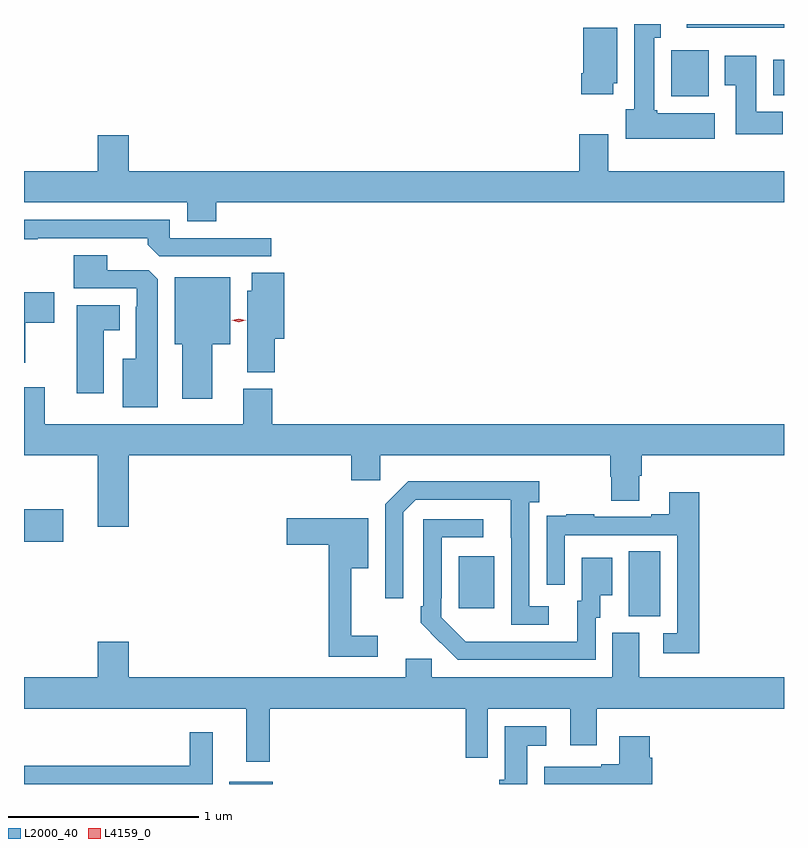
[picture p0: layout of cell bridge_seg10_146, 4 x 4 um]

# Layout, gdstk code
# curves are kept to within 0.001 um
import gdstk
lib = gdstk.Library(unit=1e-6, precision=1e-09)
def R(c, l, rs):  # rectangles x0, y0, x1, y1
    for r in rs: c.add(gdstk.rectangle(r[:2], r[2:], *l))
def P(c, l, *ps):  # polygons
    for p in ps: c.add(gdstk.Polygon(p, *l))
L2000_40 = (2000, 40)
L4159_0 = (4159, 0)

bridge_seg10_146 = lib.new_cell('bridge_seg10_146')
R(bridge_seg10_146, L2000_40, [(321.545,1277.275,321.772,1277.287), (323.648,1278.157,323.812,1278.5), (322.751,1278.201,322.939,1278.475), (320.464,1278.551,320.671,1278.721), (323.87,1280.894,324.067,1281.136), (324.407,1280.9,324.464,1281.088), (323.951,1281.254,324.464,1281.275)])
P(bridge_seg10_146, L2000_40, [(324.1,1280.806),(323.796,1280.806),(323.796,1280.82),(323.782,1280.82),(323.782,1281.203),(323.815,1281.203),(323.815,1281.275),(323.675,1281.275),(323.675,1280.826),(323.63,1280.826),(323.63,1280.672),(324.1,1280.672)],
  [(323.566,1280.964),(323.587,1280.964),(323.587,1281.256),(323.408,1281.256),(323.408,1281.016),(323.396,1281.016),(323.396,1280.904),(323.566,1280.904)],
  [(324.458,1280.812),(324.319,1280.812),(324.319,1281.109),(324.152,1281.109),(324.152,1280.953),(324.209,1280.953),(324.209,1280.694),(324.458,1280.694)],
  [(321.476,1280.336),(324.464,1280.336),(324.464,1280.5),(323.539,1280.5),(323.539,1280.695),(323.387,1280.695),(323.387,1280.5),(321.016,1280.5),(321.016,1280.689),(320.852,1280.689),(320.852,1280.5),(320.464,1280.5),(320.464,1280.336),(321.323,1280.336),(321.323,1280.237),(321.476,1280.237)],
  [(321.766,1280.148),(321.231,1280.148),(321.231,1280.244),(320.464,1280.244),(320.464,1280.143),(320.536,1280.143),(320.536,1280.148),(321.116,1280.148),(321.116,1280.114),(321.177,1280.052),(321.766,1280.052)],
  [(321.169,1279.931),(321.12,1279.98),(320.902,1279.98),(320.902,1280.059),(320.726,1280.059),(320.726,1279.884),(321.057,1279.884),(321.057,1279.787),(321.053,1279.787),(321.053,1279.513),(320.984,1279.513),(320.984,1279.259),(321.169,1279.259)],
  [(321.785,1279.619),(321.833,1279.619),(321.833,1279.967),(321.662,1279.967),(321.662,1279.872),(321.638,1279.872),(321.638,1279.441),(321.785,1279.441)],
  [(321.454,1279.589),(321.55,1279.589),(321.55,1279.942),(321.257,1279.942),(321.257,1279.589),(321.296,1279.589),(321.296,1279.302),(321.454,1279.302)],
  [(320.47,1279.702),(320.623,1279.702),(320.623,1279.864),(320.464,1279.864),(320.464,1279.491),(320.47,1279.491)],
  [(320.884,1279.664),(320.968,1279.664),(320.968,1279.795),(320.741,1279.795),(320.741,1279.332),(320.884,1279.332)],
  [(321.016,1279.004),(322.187,1279.004),(322.187,1278.873),(322.338,1278.873),(322.338,1279.004),(323.549,1279.004),(323.549,1278.891),(323.554,1278.891),(323.554,1278.766),(323.701,1278.766),(323.701,1278.898),(323.714,1278.898),(323.714,1279.004),(324.464,1279.004),(324.464,1279.168),(321.77,1279.168),(321.77,1279.356),(321.617,1279.356),(321.617,1279.168),(320.572,1279.168),(320.572,1279.363),(320.464,1279.363),(320.464,1279.004),(320.852,1279.004),(320.852,1278.63),(321.016,1278.63)],
  [(323.227,1278.21),(323.124,1278.21),(323.124,1278.758),(323.176,1278.758),(323.176,1278.868),(322.486,1278.868),(322.365,1278.747),(322.365,1278.252),(322.461,1278.252),(322.461,1278.705),(322.527,1278.771),(323.027,1278.771),(323.028,1278.114),(323.227,1278.114)],
  [(324.017,1278.811),(323.861,1278.811),(323.861,1278.694),(323.765,1278.694),(323.765,1278.681),(323.465,1278.681),(323.465,1278.694),(323.317,1278.694),(323.317,1278.687),(323.215,1278.687),(323.215,1278.578),(323.214,1278.578),(323.214,1278.324),(323.31,1278.324),(323.31,1278.585),(323.901,1278.585),(323.901,1278.069),(323.829,1278.069),(323.829,1277.964),(324.017,1277.964)],
  [(322.327,1278.055),(322.187,1278.055),(322.187,1278.41),(322.276,1278.41),(322.276,1278.675),(321.846,1278.675),(321.846,1278.533),(322.069,1278.533),(322.069,1277.946),(322.327,1277.946)],
  [(323.472,1278.15),(323.497,1278.15),(323.497,1278.269),(323.56,1278.269),(323.56,1278.466),(323.399,1278.466),(323.399,1278.24),(323.375,1278.24),(323.375,1278.024),(322.788,1278.025),(322.659,1278.153),(322.659,1278.253),(322.662,1278.253),(322.662,1278.573),(322.882,1278.573),(322.882,1278.669),(322.566,1278.669),(322.566,1278.211),(322.551,1278.211),(322.551,1278.123),(322.748,1277.928),(323.472,1277.928)],
  [(321.757,1277.672),(322.789,1277.672),(322.789,1277.412),(322.905,1277.412),(322.905,1277.672),(323.339,1277.672),(323.339,1277.478),(323.479,1277.478),(323.479,1277.672),(324.464,1277.672),(324.464,1277.836),(323.701,1277.836),(323.701,1278.072),(323.561,1278.072),(323.561,1277.836),(322.611,1277.836),(322.611,1277.934),(322.472,1277.934),(322.472,1277.836),(321.016,1277.836),(321.016,1278.025),(320.852,1278.025),(320.852,1277.836),(320.464,1277.836),(320.464,1277.672),(321.635,1277.672),(321.635,1277.391),(321.757,1277.391)],
  [(323.113,1277.477),(323.212,1277.477),(323.212,1277.578),(322.994,1277.578),(322.994,1277.298),(322.964,1277.298),(322.964,1277.275),(323.113,1277.275)],
  [(321.457,1277.548),(321.336,1277.548),(321.336,1277.371),(320.464,1277.371),(320.464,1277.275),(321.457,1277.275)],
  [(323.771,1277.414),(323.758,1277.414),(323.758,1277.527),(323.597,1277.527),(323.597,1277.38),(323.501,1277.38),(323.501,1277.367),(323.201,1277.367),(323.201,1277.275),(323.771,1277.275)])
P(bridge_seg10_146, L4159_0, [(321.595,1279.705),(321.557,1279.715),(321.557,1279.715),(321.557,1279.715),(321.595,1279.725),(321.632,1279.715),(321.632,1279.715),(321.632,1279.715)])

lib.write_gds('bridge_seg10_146.gds')
